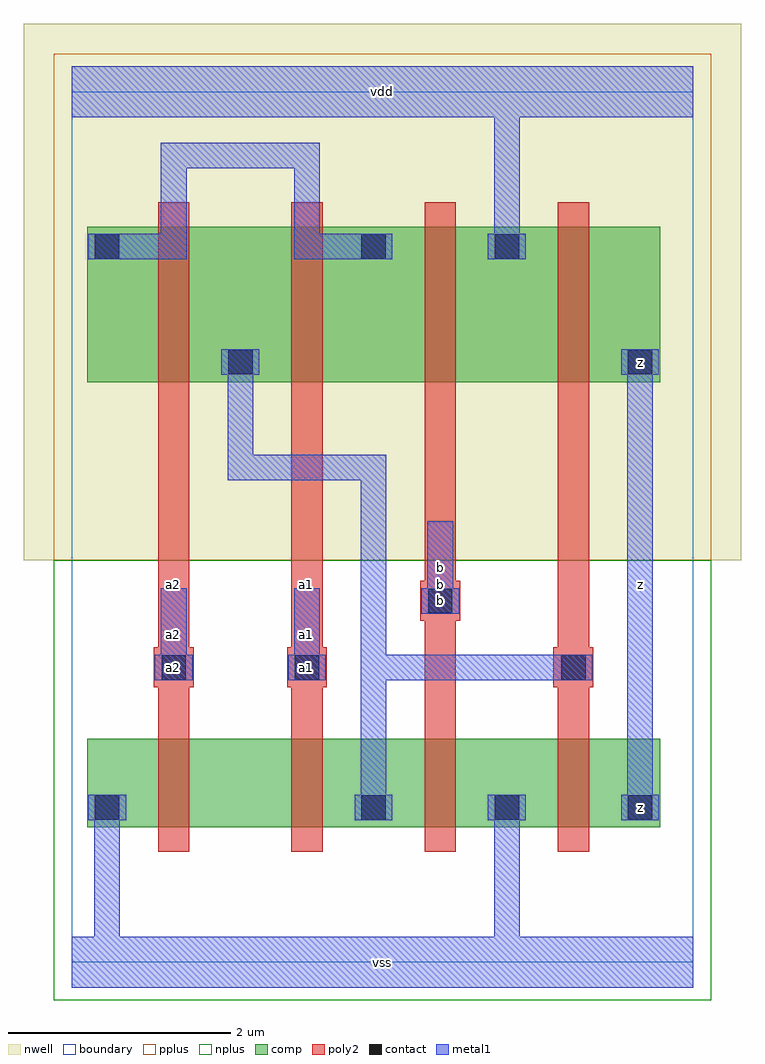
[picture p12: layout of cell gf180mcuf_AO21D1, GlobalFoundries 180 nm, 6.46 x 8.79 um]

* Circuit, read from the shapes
.subckt gf180mcuf_AO21D1 a1 a2 b vdd vss z
XM1 n1 a2 vss VSUBS nfet_03v3 w=0.8u l=0.28u
XM2 n2 a1 n1 VSUBS nfet_03v3 w=0.8u l=0.28u
XM3 vss b n2 VSUBS nfet_03v3 w=0.8u l=0.28u
XM4 z n2 vss VSUBS nfet_03v3 w=0.8u l=0.28u
XM5 n2 a2 n3 n4 pfet_03v3 w=1.4u l=0.28u
XM6 n3 a1 n2 n4 pfet_03v3 w=1.4u l=0.28u
XM7 vdd b n3 n4 pfet_03v3 w=1.4u l=0.28u
XM8 z n2 vdd n4 pfet_03v3 w=1.4u l=0.28u
.ends

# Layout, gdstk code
import gdstk
lib = gdstk.Library(unit=1e-6, precision=1e-09)
def R(c, l, rs):  # rectangles x0, y0, x1, y1
    for r in rs: c.add(gdstk.rectangle(r[:2], r[2:], *l))
def A(c, l, x, y, w, h, nx, ny, dx, dy):  # array of equal rectangles
    R(c, l, [(x+i*dx, y+j*dy, x+i*dx+w, y+j*dy+h) for i in range(nx) for j in range(ny)])
boundary = (0, 0)
nwell = (21, 0)
comp = (22, 0)
poly2 = (30, 0)
pplus = (31, 0)
nplus = (32, 0)
contact = (33, 0)
metal1 = (34, 0)

gf180mcuf_ao21d1 = lib.new_cell('gf180mcuf_AO21D1')
R(gf180mcuf_ao21d1, boundary, [(0,0,5.6,7.84)])
R(gf180mcuf_ao21d1, nwell, [(-0.43,3.62,6.03,8.45)])
A(gf180mcuf_ao21d1, comp, 0.14, 1.215, 1.56, 0.8, 4, 1, 1.2, 0)
A(gf180mcuf_ao21d1, comp, 2.54, 1.215, 0.36, 0.36, 3, 1, 1.2, 0)
A(gf180mcuf_ao21d1, comp, 0.14, 5.225, 1.56, 1.4, 4, 1, 1.2, 0)
R(gf180mcuf_ao21d1, comp, [(0.14,1.215,0.5,1.575), (1.34,5.225,1.7,5.585), (4.94,5.225,5.3,5.585), (0.14,6.265,0.5,6.625), (2.54,6.265,2.9,6.625), (3.74,6.265,4.1,6.625)])
A(gf180mcuf_ao21d1, poly2, 0.78, 0.995, 0.28, 1.24, 4, 1, 1.2, 0)
A(gf180mcuf_ao21d1, poly2, 0.78, 1.255, 0.28, 4.29, 3, 1, 1.2, 0)
A(gf180mcuf_ao21d1, poly2, 0.78, 5.005, 0.28, 1.84, 4, 1, 1.2, 0)
R(gf180mcuf_ao21d1, poly2, [(4.38,1.255,4.66,2.795), (0.74,2.475,1.1,2.835), (1.94,2.475,2.3,2.835), (4.34,2.475,4.7,2.835), (4.38,2.515,4.66,5.545), (3.14,3.075,3.5,3.435)])
R(gf180mcuf_ao21d1, pplus, [(-0.16,3.62,5.76,7.5), (-0.16,7.5,5.76,8.18)])
R(gf180mcuf_ao21d1, nplus, [(-0.16,-0.34,5.76,0.34), (-0.16,0.34,5.76,3.62)])
A(gf180mcuf_ao21d1, contact, 2.61, 1.285, 0.22, 0.22, 3, 1, 1.2, 0)
R(gf180mcuf_ao21d1, contact, [(0.21,1.285,0.43,1.505), (0.81,2.545,1.03,2.765), (2.01,2.545,2.23,2.765), (4.41,2.545,4.63,2.765), (3.21,3.145,3.43,3.365), (1.41,5.295,1.63,5.515), (5.01,5.295,5.23,5.515), (0.21,6.335,0.43,6.555), (2.61,6.335,2.83,6.555), (3.81,6.335,4.03,6.555)])
A(gf180mcuf_ao21d1, metal1, 2.55, 1.28, 0.34, 0.23, 3, 1, 1.2, 0)
R(gf180mcuf_ao21d1, metal1, [(0,-0.23,5.6,0.23), (0.205,0.065,0.435,1.51), (3.805,0.065,4.035,1.51), (0.15,1.28,0.49,1.51), (2.605,1.28,2.835,2.77), (5.005,1.28,5.235,5.52), (0.75,2.54,1.09,2.77), (0.805,2.54,1.035,3.37), (1.95,2.54,2.29,2.77), (2.005,2.54,2.235,3.37), (2.605,2.54,4.635,2.77), (2.605,2.54,2.835,4.57), (4.35,2.54,4.69,2.77), (3.15,3.14,3.49,3.37), (3.205,3.14,3.435,3.97), (1.405,4.34,2.835,4.57), (1.405,4.34,1.635,5.52), (1.35,5.29,1.69,5.52), (4.95,5.29,5.29,5.52), (0.15,6.33,0.49,6.56), (0.205,6.33,1.035,6.56), (0.805,6.33,1.035,7.38), (2.005,6.33,2.835,6.56), (2.005,6.33,2.235,7.38), (2.55,6.33,2.89,6.56), (3.75,6.33,4.09,6.56), (3.805,6.33,4.035,7.775), (0.805,7.15,2.235,7.38), (0,7.61,5.6,8.07)])
gf180mcuf_ao21d1.add(gdstk.FlexPath([(0.14,0.575),(5.3,0.575)], 0, ends="flush", simple_path=True, layer=0, datatype=0))  # boundary
gf180mcuf_ao21d1.add(gdstk.FlexPath([(0.14,1.395),(5.3,1.395)], 0, ends="flush", simple_path=True, layer=0, datatype=0))  # boundary
gf180mcuf_ao21d1.add(gdstk.FlexPath([(0.14,2.655),(5.3,2.655)], 0, ends="flush", simple_path=True, layer=0, datatype=0))  # boundary
gf180mcuf_ao21d1.add(gdstk.FlexPath([(0.14,3.255),(5.3,3.255)], 0, ends="flush", simple_path=True, layer=0, datatype=0))  # boundary
gf180mcuf_ao21d1.add(gdstk.FlexPath([(0.14,3.855),(5.3,3.855)], 0, ends="flush", simple_path=True, layer=0, datatype=0))  # boundary
gf180mcuf_ao21d1.add(gdstk.FlexPath([(0.14,4.455),(5.3,4.455)], 0, ends="flush", simple_path=True, layer=0, datatype=0))  # boundary
gf180mcuf_ao21d1.add(gdstk.FlexPath([(0.14,5.405),(5.3,5.405)], 0, ends="flush", simple_path=True, layer=0, datatype=0))  # boundary
gf180mcuf_ao21d1.add(gdstk.FlexPath([(0.14,6.445),(5.3,6.445)], 0, ends="flush", simple_path=True, layer=0, datatype=0))  # boundary
gf180mcuf_ao21d1.add(gdstk.FlexPath([(0.14,7.265),(5.3,7.265)], 0, ends="flush", simple_path=True, layer=0, datatype=0))  # boundary
gf180mcuf_ao21d1.add(gdstk.FlexPath([(0.32,0.065),(0.32,7.775)], 0, ends="flush", simple_path=True, layer=0, datatype=0))  # boundary
gf180mcuf_ao21d1.add(gdstk.FlexPath([(0.92,0.065),(0.92,7.775)], 0, ends="flush", simple_path=True, layer=0, datatype=0))  # boundary
gf180mcuf_ao21d1.add(gdstk.FlexPath([(1.52,0.065),(1.52,7.775)], 0, ends="flush", simple_path=True, layer=0, datatype=0))  # boundary
gf180mcuf_ao21d1.add(gdstk.FlexPath([(2.12,0.065),(2.12,7.775)], 0, ends="flush", simple_path=True, layer=0, datatype=0))  # boundary
gf180mcuf_ao21d1.add(gdstk.FlexPath([(2.72,0.065),(2.72,7.775)], 0, ends="flush", simple_path=True, layer=0, datatype=0))  # boundary
gf180mcuf_ao21d1.add(gdstk.FlexPath([(3.32,0.065),(3.32,7.775)], 0, ends="flush", simple_path=True, layer=0, datatype=0))  # boundary
gf180mcuf_ao21d1.add(gdstk.FlexPath([(3.92,0.065),(3.92,7.775)], 0, ends="flush", simple_path=True, layer=0, datatype=0))  # boundary
gf180mcuf_ao21d1.add(gdstk.FlexPath([(4.52,0.065),(4.52,7.775)], 0, ends="flush", simple_path=True, layer=0, datatype=0))  # boundary
gf180mcuf_ao21d1.add(gdstk.FlexPath([(5.12,0.065),(5.12,7.775)], 0, ends="flush", simple_path=True, layer=0, datatype=0))  # boundary
gf180mcuf_ao21d1.add(gdstk.Label('z', (5.12,1.395), layer=22, texttype=0))
gf180mcuf_ao21d1.add(gdstk.Label('z', (5.12,5.405), layer=22, texttype=0))
gf180mcuf_ao21d1.add(gdstk.Label('a2', (0.92,3.4), layer=30, texttype=0))
gf180mcuf_ao21d1.add(gdstk.Label('a2', (0.92,2.655), layer=30, texttype=0))
gf180mcuf_ao21d1.add(gdstk.Label('a1', (2.12,3.4), layer=30, texttype=0))
gf180mcuf_ao21d1.add(gdstk.Label('a1', (2.12,2.655), layer=30, texttype=0))
gf180mcuf_ao21d1.add(gdstk.Label('b', (3.32,3.4), layer=30, texttype=0))
gf180mcuf_ao21d1.add(gdstk.Label('b', (3.32,3.255), layer=30, texttype=0))
gf180mcuf_ao21d1.add(gdstk.Label('a2', (0.92,2.655), layer=33, texttype=0))
gf180mcuf_ao21d1.add(gdstk.Label('a1', (2.12,2.655), layer=33, texttype=0))
gf180mcuf_ao21d1.add(gdstk.Label('b', (3.32,3.255), layer=33, texttype=0))
gf180mcuf_ao21d1.add(gdstk.Label('z', (5.12,1.395), layer=33, texttype=0))
gf180mcuf_ao21d1.add(gdstk.Label('z', (5.12,5.405), layer=33, texttype=0))
gf180mcuf_ao21d1.add(gdstk.Label('a2', (0.92,2.655), layer=34, texttype=10))
gf180mcuf_ao21d1.add(gdstk.Label('a2', (0.92,2.955), layer=34, texttype=10))
gf180mcuf_ao21d1.add(gdstk.Label('a1', (2.12,2.655), layer=34, texttype=10))
gf180mcuf_ao21d1.add(gdstk.Label('a1', (2.12,2.955), layer=34, texttype=10))
gf180mcuf_ao21d1.add(gdstk.Label('b', (3.32,3.255), layer=34, texttype=10))
gf180mcuf_ao21d1.add(gdstk.Label('b', (3.32,3.555), layer=34, texttype=10))
gf180mcuf_ao21d1.add(gdstk.Label('z', (5.12,1.395), layer=34, texttype=10))
gf180mcuf_ao21d1.add(gdstk.Label('z', (5.12,5.405), layer=34, texttype=10))
gf180mcuf_ao21d1.add(gdstk.Label('z', (5.12,3.4), layer=34, texttype=10))
gf180mcuf_ao21d1.add(gdstk.Label('vss', (2.8,0), layer=34, texttype=10))
gf180mcuf_ao21d1.add(gdstk.Label('vdd', (2.8,7.84), layer=34, texttype=10))

lib.write_gds('gf180mcuf_AO21D1.gds')
